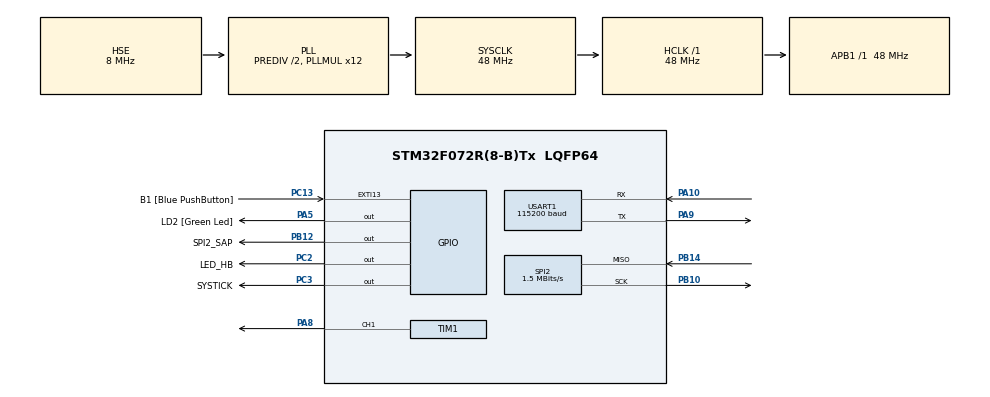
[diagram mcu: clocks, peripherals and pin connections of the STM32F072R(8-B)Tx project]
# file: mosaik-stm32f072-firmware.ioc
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Dma.Request0=TIM1_CH1
Dma.Request1=USART1_TX
Dma.TIM1_CH1.0.Direction=DMA_MEMORY_TO_PERIPH
Dma.TIM1_CH1.0.Instance=DMA1_Channel2
Dma.TIM1_CH1.0.MemDataAlignment=DMA_MDATAALIGN_HALFWORD
Dma.TIM1_CH1.0.MemInc=DMA_MINC_ENABLE
Dma.TIM1_CH1.0.Mode=DMA_NORMAL
Dma.TIM1_CH1.0.PeriphDataAlignment=DMA_PDATAALIGN_HALFWORD
Dma.TIM1_CH1.0.PeriphInc=DMA_PINC_DISABLE
Dma.TIM1_CH1.0.Priority=DMA_PRIORITY_LOW
Dma.USART1_TX.1.Direction=DMA_MEMORY_TO_PERIPH
Dma.USART1_TX.1.Instance=DMA1_Channel4
Dma.USART1_TX.1.MemDataAlignment=DMA_MDATAALIGN_BYTE
Dma.USART1_TX.1.MemInc=DMA_MINC_ENABLE
Dma.USART1_TX.1.Mode=DMA_NORMAL
Dma.USART1_TX.1.PeriphDataAlignment=DMA_PDATAALIGN_BYTE
Dma.USART1_TX.1.PeriphInc=DMA_PINC_DISABLE
Dma.USART1_TX.1.Priority=DMA_PRIORITY_LOW
Mcu.Family=STM32F0
Mcu.Name=STM32F072R(8-B)Tx
Mcu.Package=LQFP64
NVIC.DMA1_Channel2_3_IRQn=true\:0\:0\:false\:false\:true\:false\:true\:true
NVIC.DMA1_Channel4_5_6_7_IRQn=true\:0\:0\:false\:false\:true\:false\:true\:true
NVIC.RCC_CRS_IRQn=true\:0\:0\:false\:false\:true\:true\:false\:true
NVIC.TIM17_IRQn=true\:0\:0\:false\:false\:true\:true\:true\:true
NVIC.USART1_IRQn=true\:0\:0\:false\:false\:true\:true\:true\:true
PA10.Mode=Asynchronous
PA10.Signal=USART1_RX
PA13.GPIO_Label=TMS
PA13.Mode=Serial_Wire
PA13.Signal=SYS_SWDIO
PA14.GPIO_Label=TCK
PA14.Mode=Serial_Wire
PA14.Signal=SYS_SWCLK
PA5.GPIO_Label=LD2 [Green Led]
PA5.GPIO_Mode=GPIO_MODE_OUTPUT_PP
PA5.GPIO_PuPd=GPIO_NOPULL
PA5.GPIO_Speed=GPIO_SPEED_FREQ_LOW
PA5.Signal=GPIO_Output
PA8.GPIO_PuPd=GPIO_PULLDOWN
PA8.Signal=S_TIM1_CH1
PA9.Mode=Asynchronous
PA9.Signal=USART1_TX
PB10.Mode=RX_Only_Simplex_Unidirect_Master
PB10.Signal=SPI2_SCK
PB12.GPIO_Label=SPI2_SAP
PB12.GPIO_PuPd=GPIO_NOPULL
PB12.PinState=GPIO_PIN_SET
PB12.Signal=GPIO_Output
PB14.Mode=RX_Only_Simplex_Unidirect_Master
PB14.Signal=SPI2_MISO
PC13.GPIO_Label=B1 [Blue PushButton]
PC13.GPIO_ModeDefaultEXTI=GPIO_MODE_IT_FALLING
PC13.Signal=GPXTI13
PC14-OSC32_IN.Signal=RCC_OSC32_IN
PC15-OSC32_OUT.Signal=RCC_OSC32_OUT
PC2.GPIO_Label=LED_HB
PC2.PinState=GPIO_PIN_SET
PC2.Signal=GPIO_Output
PC3.GPIO_Label=SYSTICK
PC3.GPIO_PuPd=GPIO_PULLUP
PC3.Signal=GPIO_Output
PF0-OSC_IN.Mode=HSE-External-Oscillator
PF0-OSC_IN.Signal=RCC_OSC_IN
PF1-OSC_OUT.Mode=HSE-External-Oscillator
PF1-OSC_OUT.Signal=RCC_OSC_OUT
ProjectManager.HeapSize=0x200
ProjectManager.StackSize=0x400
ProjectManager.TargetToolchain=STM32CubeIDE
RCC.AHBFreq_Value=48000000
RCC.APB1Freq_Value=48000000
RCC.APB1TimFreq_Value=48000000
RCC.FLatency-AdvancedSettings=FLASH_LATENCY_1
RCC.HCLKFreq_Value=48000000
RCC.PLLDivider=RCC_PREDIV_DIV2
RCC.PLLMUL=RCC_PLL_MUL12
RCC.PLLSourceVirtual=RCC_PLLSOURCE_HSE
RCC.PREFETCH_ENABLE-AdvancedSettings=1
RCC.SYSCLKFreq_VALUE=48000000
RCC.SYSCLKSource=RCC_SYSCLKSOURCE_PLLCLK
RCC.USBClockSelection=RCC_USBCLKSOURCE_PLL
SH.S_TIM1_CH1.0=TIM1_CH1,PWM Generation1 CH1
SPI2.BaudRatePrescaler=SPI_BAUDRATEPRESCALER_32
SPI2.CLKPhase=SPI_PHASE_2EDGE
SPI2.CLKPolarity=SPI_POLARITY_HIGH
SPI2.CalculateBaudRate=1.5 MBits/s
SPI2.DataSize=SPI_DATASIZE_8BIT
SPI2.Direction=SPI_DIRECTION_2LINES_RXONLY
SPI2.Mode=SPI_MODE_MASTER
SPI2.VirtualType=VM_MASTER
TIM1.Channel-PWM\ Generation1\ CH1=TIM_CHANNEL_1
TIM1.Period=60-1
TIM17.Period=1000-1
TIM17.Prescaler=48-1
USART1.BaudRate=115200
USART1.VirtualMode-Asynchronous=VM_ASYNC
VP_TIM17_VS_ClockSourceINT.Mode=Enable_Timer
VP_TIM1_VS_ClockSourceINT.Mode=Internal
board=NUCLEO-F072RB

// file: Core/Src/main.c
/* USER CODE BEGIN Header */
/**
  ******************************************************************************
  * @file           : main.c
  * @brief          : Main program body
  ******************************************************************************
  * @attention
  *
  * Copyright (c) 2024 STMicroelectronics.
  * All rights reserved.
  *
  * This software is licensed under terms that can be found in the LICENSE file
  * in the root directory of this software component.
  * If no LICENSE file comes with this software, it is provided AS-IS.
  *
  ******************************************************************************
  */
/* USER CODE END Header */
#include "main.h"

/* USER CODE BEGIN Includes */
#include <stdio.h>
#include <stdint.h>
#include <string.h>
#include "coos.h"
#include "rgb_leds.h"
/* USER CODE END Includes */

/* USER CODE BEGIN PD */
#define MAX_LED 108
/* USER CODE END PD */

SPI_HandleTypeDef hspi2;

TIM_HandleTypeDef htim1;
TIM_HandleTypeDef htim17;
DMA_HandleTypeDef hdma_tim1_ch1;

UART_HandleTypeDef huart1;
DMA_HandleTypeDef hdma_usart1_tx;

/* USER CODE BEGIN PV */
uint8_t systick = 0;
uint16_t pwmData[(24*MAX_LED)+50];
#define N_PWM_DATA (32*MAX_LED)+50
uint16_t rgbw_pwm_data[N_PWM_DATA];
uint8_t datasentflag = 0;
uint8_t TxData[3] = {0xAA,0xAA,0xAA};
uint8_t LED_Data[MAX_LED][4];
uint8_t RGBW_Data[MAX_LED][5];
uint8_t text_buf[] = "Mosaik\n";
/* USER CODE END PV */

void SystemClock_Config(void);
static void MX_GPIO_Init(void);
static void MX_DMA_Init(void);
static void MX_TIM1_Init(void);
static void MX_USART1_UART_Init(void);
static void MX_SPI2_Init(void);
static void MX_TIM17_Init(void);

/* USER CODE BEGIN 0 */
#if 0
void HAL_TIM_PWM_PulseFinishedCallback(TIM_HandleTypeDef *htim)
{
	HAL_TIM_PWM_Stop_DMA(&htim1, TIM_CHANNEL_1);
}
#endif

uint8_t FinalData[20];
uint8_t RxData[20];
uint8_t temp[2];
int uart_rx_indx = 0;

void HAL_UART_RxCpltCallback(UART_HandleTypeDef *huart)
{
	if( huart == &huart1 )
	{
		memcpy( RxData + uart_rx_indx, temp, 1);
		if (++uart_rx_indx >= 20)
		{
			uart_rx_indx = 0;
		}
		HAL_UART_Receive_IT(&huart1, temp, 1);
	}
}

void process_hb()
{
	HAL_GPIO_TogglePin( LED_HB_GPIO_Port, LED_HB_Pin );
}

void task_write_uart()
{
	HAL_UART_Transmit_DMA( &huart1, text_buf, sizeof(text_buf) );
}

void task_parse()
{
	int id, r, g, b = 0;
	if (temp[0] == '\n')
	{
        memcpy (FinalData, RxData, uart_rx_indx);
        uart_rx_indx = 0;
    	sscanf((char *)FinalData, "L%d %d %d %d", &id, &r, &g, &b);
    	rgb_set_led(id,r,g,b);
    	rgb_update();
    	//RGBW_Set(id, r, g, b, 0);
    	//RGBW_Send();
	}
}

/* USER CODE END 0 */

int main(void)
{

  /* MCU Configuration--------------------------------------------------------*/

  /* Reset of all peripherals, Initializes the Flash interface and the Systick. */
  HAL_Init();

  /* Configure the system clock */
  SystemClock_Config();

  /* Initialize all configured peripherals */
  MX_GPIO_Init();
  MX_DMA_Init();
  MX_TIM1_Init();
  MX_USART1_UART_Init();
  MX_SPI2_Init();
  MX_TIM17_Init();
  /* USER CODE BEGIN 2 */

  rgb_init( &htim1 );
  coos_init();
  //coos_task_add( process_hb, 0, 500 );
  //coos_task_add( task_read_spi, 0, 1 );
  coos_task_add( task_write_uart, 0, 1000 );
  coos_task_add( task_parse, 3, 10 );
  //coos_task_add( task_update_rgb, 7, 10 );

  HAL_UART_Receive_IT(&huart1, temp, 1);
  HAL_TIM_Base_Start_IT( &htim17 );

  /* USER CODE END 2 */

  /* Infinite loop */
  /* USER CODE BEGIN WHILE */
  while (1)
  {
	//WS2812_Send();
	//RGBW_Send();
	if( systick == 1 )
	{
	  coos_update();
	  systick = 0;
	}
	coos_dispatch();
	HAL_GPIO_TogglePin( LED_HB_GPIO_Port, LED_HB_Pin );

    /* USER CODE END WHILE */

  }
}

void SystemClock_Config(void)
{
  RCC_OscInitTypeDef RCC_OscInitStruct = {0};
  RCC_ClkInitTypeDef RCC_ClkInitStruct = {0};
  RCC_PeriphCLKInitTypeDef PeriphClkInit = {0};

  /** Initializes the RCC Oscillators according to the specified parameters
  * in the RCC_OscInitTypeDef structure.
  */
  RCC_OscInitStruct.OscillatorType = RCC_OSCILLATORTYPE_HSE;
  RCC_OscInitStruct.HSEState = RCC_HSE_ON;
  RCC_OscInitStruct.PLL.PLLState = RCC_PLL_ON;
  RCC_OscInitStruct.PLL.PLLSource = RCC_PLLSOURCE_HSE;
  RCC_OscInitStruct.PLL.PLLMUL = RCC_PLL_MUL12;
  RCC_OscInitStruct.PLL.PREDIV = RCC_PREDIV_DIV2;
  if (HAL_RCC_OscConfig(&RCC_OscInitStruct) != HAL_OK)
  {
    Error_Handler();
  }

  /** Initializes the CPU, AHB and APB buses clocks
  */
  RCC_ClkInitStruct.ClockType = RCC_CLOCKTYPE_HCLK|RCC_CLOCKTYPE_SYSCLK
                              |RCC_CLOCKTYPE_PCLK1;
  RCC_ClkInitStruct.SYSCLKSource = RCC_SYSCLKSOURCE_PLLCLK;
  RCC_ClkInitStruct.AHBCLKDivider = RCC_SYSCLK_DIV1;
  RCC_ClkInitStruct.APB1CLKDivider = RCC_HCLK_DIV1;

  if (HAL_RCC_ClockConfig(&RCC_ClkInitStruct, FLASH_LATENCY_1) != HAL_OK)
  {
    Error_Handler();
  }
  PeriphClkInit.PeriphClockSelection = RCC_PERIPHCLK_USART1;
  PeriphClkInit.Usart1ClockSelection = RCC_USART1CLKSOURCE_PCLK1;
  if (HAL_RCCEx_PeriphCLKConfig(&PeriphClkInit) != HAL_OK)
  {
    Error_Handler();
  }
}

static void MX_SPI2_Init(void)
{

  /* SPI2 parameter configuration*/
  hspi2.Instance = SPI2;
  hspi2.Init.Mode = SPI_MODE_MASTER;
  hspi2.Init.Direction = SPI_DIRECTION_2LINES_RXONLY;
  hspi2.Init.DataSize = SPI_DATASIZE_8BIT;
  hspi2.Init.CLKPolarity = SPI_POLARITY_HIGH;
  hspi2.Init.CLKPhase = SPI_PHASE_2EDGE;
  hspi2.Init.NSS = SPI_NSS_SOFT;
  hspi2.Init.BaudRatePrescaler = SPI_BAUDRATEPRESCALER_32;
  hspi2.Init.FirstBit = SPI_FIRSTBIT_MSB;
  hspi2.Init.TIMode = SPI_TIMODE_DISABLE;
  hspi2.Init.CRCCalculation = SPI_CRCCALCULATION_DISABLE;
  hspi2.Init.CRCPolynomial = 7;
  hspi2.Init.CRCLength = SPI_CRC_LENGTH_DATASIZE;
  hspi2.Init.NSSPMode = SPI_NSS_PULSE_DISABLE;
  if (HAL_SPI_Init(&hspi2) != HAL_OK)
  {
    Error_Handler();
  }

}

static void MX_TIM1_Init(void)
{

  TIM_ClockConfigTypeDef sClockSourceConfig = {0};
  TIM_MasterConfigTypeDef sMasterConfig = {0};
  TIM_OC_InitTypeDef sConfigOC = {0};
  TIM_BreakDeadTimeConfigTypeDef sBreakDeadTimeConfig = {0};

  htim1.Instance = TIM1;
  htim1.Init.Prescaler = 0;
  htim1.Init.CounterMode = TIM_COUNTERMODE_UP;
  htim1.Init.Period = 60-1;
  htim1.Init.ClockDivision = TIM_CLOCKDIVISION_DIV1;
  htim1.Init.RepetitionCounter = 0;
  htim1.Init.AutoReloadPreload = TIM_AUTORELOAD_PRELOAD_DISABLE;
  if (HAL_TIM_Base_Init(&htim1) != HAL_OK)
  {
    Error_Handler();
  }
  sClockSourceConfig.ClockSource = TIM_CLOCKSOURCE_INTERNAL;
  if (HAL_TIM_ConfigClockSource(&htim1, &sClockSourceConfig) != HAL_OK)
  {
    Error_Handler();
  }
  if (HAL_TIM_PWM_Init(&htim1) != HAL_OK)
  {
    Error_Handler();
  }
  sMasterConfig.MasterOutputTrigger = TIM_TRGO_RESET;
  sMasterConfig.MasterSlaveMode = TIM_MASTERSLAVEMODE_DISABLE;
  if (HAL_TIMEx_MasterConfigSynchronization(&htim1, &sMasterConfig) != HAL_OK)
  {
    Error_Handler();
  }
  sConfigOC.OCMode = TIM_OCMODE_PWM1;
  sConfigOC.Pulse = 0;
  sConfigOC.OCPolarity = TIM_OCPOLARITY_HIGH;
  sConfigOC.OCNPolarity = TIM_OCNPOLARITY_HIGH;
  sConfigOC.OCFastMode = TIM_OCFAST_DISABLE;
  sConfigOC.OCIdleState = TIM_OCIDLESTATE_RESET;
  sConfigOC.OCNIdleState = TIM_OCNIDLESTATE_RESET;
  if (HAL_TIM_PWM_ConfigChannel(&htim1, &sConfigOC, TIM_CHANNEL_1) != HAL_OK)
  {
    Error_Handler();
  }
  sBreakDeadTimeConfig.OffStateRunMode = TIM_OSSR_DISABLE;
  sBreakDeadTimeConfig.OffStateIDLEMode = TIM_OSSI_DISABLE;
  sBreakDeadTimeConfig.LockLevel = TIM_LOCKLEVEL_OFF;
  sBreakDeadTimeConfig.DeadTime = 0;
  sBreakDeadTimeConfig.BreakState = TIM_BREAK_DISABLE;
  sBreakDeadTimeConfig.BreakPolarity = TIM_BREAKPOLARITY_HIGH;
  sBreakDeadTimeConfig.AutomaticOutput = TIM_AUTOMATICOUTPUT_DISABLE;
  if (HAL_TIMEx_ConfigBreakDeadTime(&htim1, &sBreakDeadTimeConfig) != HAL_OK)
  {
    Error_Handler();
  }
  HAL_TIM_MspPostInit(&htim1);

}

static void MX_TIM17_Init(void)
{

  htim17.Instance = TIM17;
  htim17.Init.Prescaler = 48-1;
  htim17.Init.CounterMode = TIM_COUNTERMODE_UP;
  htim17.Init.Period = 1000-1;
  htim17.Init.ClockDivision = TIM_CLOCKDIVISION_DIV1;
  htim17.Init.RepetitionCounter = 0;
  htim17.Init.AutoReloadPreload = TIM_AUTORELOAD_PRELOAD_DISABLE;
  if (HAL_TIM_Base_Init(&htim17) != HAL_OK)
  {
    Error_Handler();
  }

}

static void MX_USART1_UART_Init(void)
{

  huart1.Instance = USART1;
  huart1.Init.BaudRate = 115200;
  huart1.Init.WordLength = UART_WORDLENGTH_8B;
  huart1.Init.StopBits = UART_STOPBITS_1;
  huart1.Init.Parity = UART_PARITY_NONE;
  huart1.Init.Mode = UART_MODE_TX_RX;
  huart1.Init.HwFlowCtl = UART_HWCONTROL_NONE;
  huart1.Init.OverSampling = UART_OVERSAMPLING_16;
  huart1.Init.OneBitSampling = UART_ONE_BIT_SAMPLE_DISABLE;
  huart1.AdvancedInit.AdvFeatureInit = UART_ADVFEATURE_NO_INIT;
  if (HAL_UART_Init(&huart1) != HAL_OK)
  {
    Error_Handler();
  }

}

static void MX_DMA_Init(void)
{

  /* DMA controller clock enable */
  __HAL_RCC_DMA1_CLK_ENABLE();

  /* DMA interrupt init */
  /* DMA1_Channel2_3_IRQn interrupt configuration */
  HAL_NVIC_SetPriority(DMA1_Channel2_3_IRQn, 0, 0);
  HAL_NVIC_EnableIRQ(DMA1_Channel2_3_IRQn);
  /* DMA1_Channel4_5_6_7_IRQn interrupt configuration */
  HAL_NVIC_SetPriority(DMA1_Channel4_5_6_7_IRQn, 0, 0);
  HAL_NVIC_EnableIRQ(DMA1_Channel4_5_6_7_IRQn);

}

static void MX_GPIO_Init(void)
{
  GPIO_InitTypeDef GPIO_InitStruct = {0};

  /* GPIO Ports Clock Enable */
  __HAL_RCC_GPIOC_CLK_ENABLE();
  __HAL_RCC_GPIOF_CLK_ENABLE();
  __HAL_RCC_GPIOA_CLK_ENABLE();
  __HAL_RCC_GPIOB_CLK_ENABLE();

  /*Configure GPIO pin Output Level */
  HAL_GPIO_WritePin(LED_HB_GPIO_Port, LED_HB_Pin, GPIO_PIN_SET);

  /*Configure GPIO pin Output Level */
  HAL_GPIO_WritePin(SYSTICK_GPIO_Port, SYSTICK_Pin, GPIO_PIN_RESET);

  /*Configure GPIO pin Output Level */
  HAL_GPIO_WritePin(LD2_GPIO_Port, LD2_Pin, GPIO_PIN_RESET);

  /*Configure GPIO pin Output Level */
  HAL_GPIO_WritePin(SPI2_SAP_GPIO_Port, SPI2_SAP_Pin, GPIO_PIN_SET);

  /*Configure GPIO pin : B1_Pin */
  GPIO_InitStruct.Pin = B1_Pin;
  GPIO_InitStruct.Mode = GPIO_MODE_IT_FALLING;
  GPIO_InitStruct.Pull = GPIO_NOPULL;
  HAL_GPIO_Init(B1_GPIO_Port, &GPIO_InitStruct);

  /*Configure GPIO pin : LED_HB_Pin */
  GPIO_InitStruct.Pin = LED_HB_Pin;
  GPIO_InitStruct.Mode = GPIO_MODE_OUTPUT_PP;
  GPIO_InitStruct.Pull = GPIO_NOPULL;
  GPIO_InitStruct.Speed = GPIO_SPEED_FREQ_LOW;
  HAL_GPIO_Init(LED_HB_GPIO_Port, &GPIO_InitStruct);

  /*Configure GPIO pin : SYSTICK_Pin */
  GPIO_InitStruct.Pin = SYSTICK_Pin;
  GPIO_InitStruct.Mode = GPIO_MODE_OUTPUT_PP;
  GPIO_InitStruct.Pull = GPIO_PULLUP;
  GPIO_InitStruct.Speed = GPIO_SPEED_FREQ_LOW;
  HAL_GPIO_Init(SYSTICK_GPIO_Port, &GPIO_InitStruct);

  /*Configure GPIO pin : LD2_Pin */
  GPIO_InitStruct.Pin = LD2_Pin;
  GPIO_InitStruct.Mode = GPIO_MODE_OUTPUT_PP;
  GPIO_InitStruct.Pull = GPIO_NOPULL;
  GPIO_InitStruct.Speed = GPIO_SPEED_FREQ_LOW;
  HAL_GPIO_Init(LD2_GPIO_Port, &GPIO_InitStruct);

  /*Configure GPIO pin : SPI2_SAP_Pin */
  GPIO_InitStruct.Pin = SPI2_SAP_Pin;
  GPIO_InitStruct.Mode = GPIO_MODE_OUTPUT_PP;
  GPIO_InitStruct.Pull = GPIO_NOPULL;
  GPIO_InitStruct.Speed = GPIO_SPEED_FREQ_LOW;
  HAL_GPIO_Init(SPI2_SAP_GPIO_Port, &GPIO_InitStruct);

}

/* USER CODE BEGIN 4 */

/* Systick Timer */
void HAL_TIM_PeriodElapsedCallback(TIM_HandleTypeDef *htim)
{
	if( htim == &htim17 )
	{
		HAL_GPIO_TogglePin( SYSTICK_GPIO_Port, SYSTICK_Pin );
		systick = 1;
	}
}
/* USER CODE END 4 */

void Error_Handler(void)
{
  __disable_irq();
  while (1)
  {
  }
}
